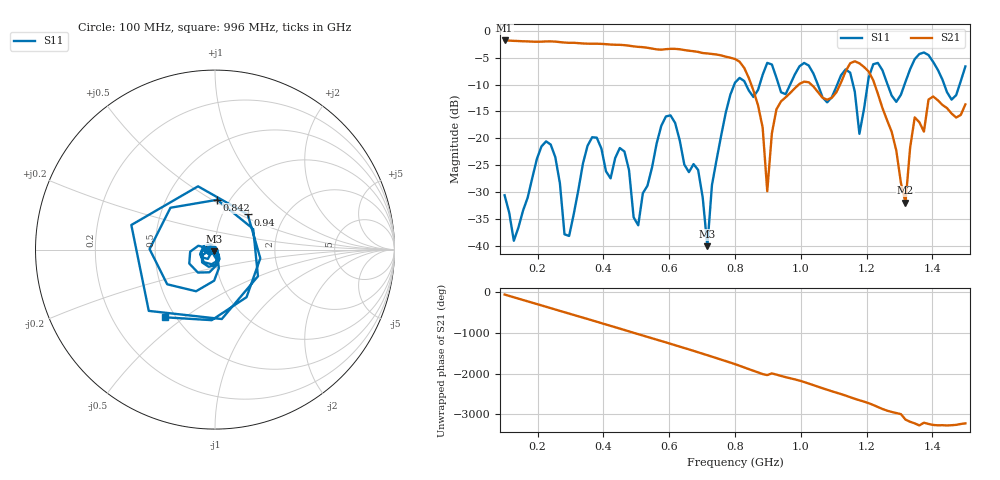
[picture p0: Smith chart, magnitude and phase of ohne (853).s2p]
! NanoVNA-App
! Date: 2025-09-25 14:27:26
! Start: 100MHz Stop: 1,5GHz Points: 101
! S-Parameter data: F S11 S21 S12 S22
# Hz S RI R 50
!  Frequency  S11_Real  S11_Imag  S21_Real  S21_Imag  S12_Real  S12_Imag  S22_Real  S22_Imag
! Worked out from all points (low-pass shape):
!   101 points, 100 MHz to 1.5 GHz, reference 50 ohm
!   highest |S21| = -1.79 dB at 100 MHz (marker M1); lowest = -32.0 dB at 1.318 GHz (marker M2)
!   |S21| within 3 dB of the highest: start of sweep to 770.9 MHz
!   lowest |S11| = -40.1 dB at 716 MHz (marker M3), VSWR 1.02, Z = 49.7 - j0.939 ohm
!   |S11| at or under -10 dB: start of sweep to 797.8 MHz; 833.1 MHz to 875 MHz (41.92 MHz wide, 4.91 % of centre); 1.052 GHz to 1.111 GHz (59.11 MHz wide, 5.47 % of centre) (the widest 3 of 7)
!   S12 and S22 are empty: the file has one direction only
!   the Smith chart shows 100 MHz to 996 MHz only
!   S11 on the Smith chart (normalised r, x): 100 MHz: 0.94, -0.01; 842 MHz: 0.88, +0.53; 940 MHz: 1.31, +0.55; 996 MHz: 0.44, -0.43
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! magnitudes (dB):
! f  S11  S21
! 100 MHz  -30.6  -1.8
! 128 MHz  -39.1  -1.9
! 226 MHz  -20.6  -2.0
! 296 MHz  -38.2  -2.2
! 338 MHz  -24.7  -2.4
! 464 MHz  -22.5  -2.7
! 506 MHz  -36.2  -3.0
! 576 MHz  -17.7  -3.5
! 688 MHz  -25.9  -3.9
! 716 MHz  -40.1  -4.2
! 800 MHz  -9.7  -5.2
! 842 MHz  -11.1  -8.8
! 898 MHz  -6.0  -29.9
! 940 MHz  -11.5  -13.1
! 996 MHz  -6.6  -9.9
! 1.038 GHz  -7.9  -10.3
! 1.178 GHz  -19.2  -6.1
! 1.22 GHz  -6.2  -9.2
! 1.276 GHz  -12.1  -18.8
! 1.318 GHz  -9.5  -32.0
! 1.346 GHz  -5.3  -16.1
! 1.5 GHz  -6.6  -13.7
